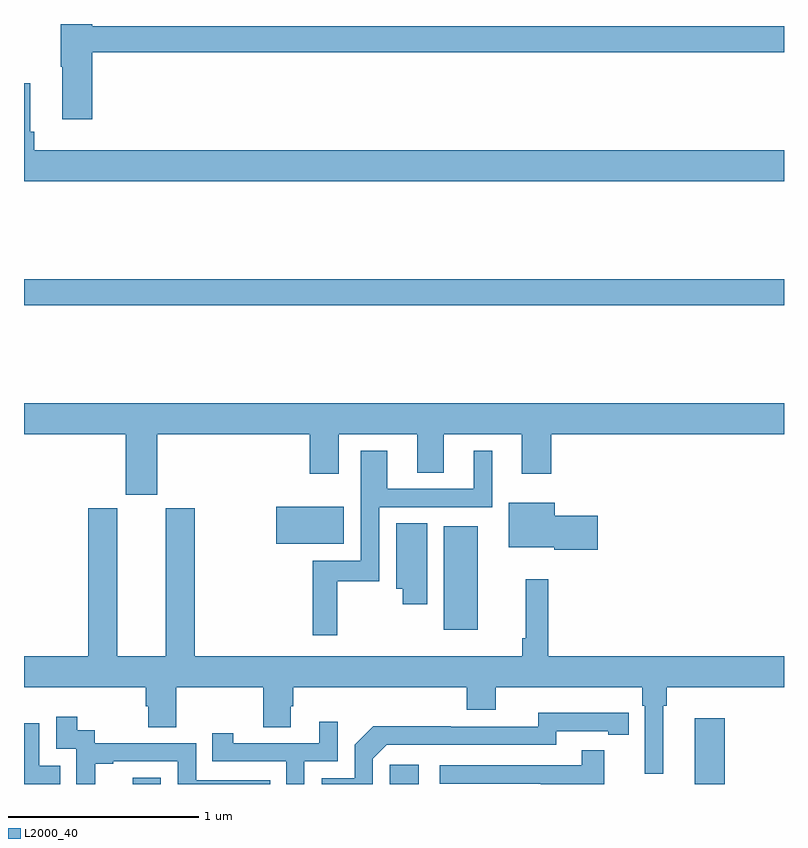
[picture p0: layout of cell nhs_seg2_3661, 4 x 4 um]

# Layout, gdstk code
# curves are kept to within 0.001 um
import gdstk
lib = gdstk.Library(unit=1e-6, precision=1e-09)
def R(c, l, rs):  # rectangles x0, y0, x1, y1
    for r in rs: c.add(gdstk.rectangle(r[:2], r[2:], *l))
def P(c, l, *ps):  # polygons
    for p in ps: c.add(gdstk.Polygon(p, *l))
L2000_40 = (2000, 40)

nhs_seg2_3661 = lib.new_cell('nhs_seg2_3661')
R(nhs_seg2_3661, L2000_40, [(303.573,641.8,303.72,641.833), (304.926,641.8,305.077,641.902), (306.53,641.8,306.689,642.145), (305.21,642.611,305.389,643.156), (304.328,643.064,304.684,643.258), (303,644.32,307,644.456)])
P(nhs_seg2_3661, L2000_40, [(303.359,645.652),(307,645.652),(307,645.788),(303.359,645.788),(303.359,645.8),(303.193,645.8),(303.193,645.575),(303.2,645.575),(303.2,645.3),(303.359,645.3)],
  [(307,645.136),(303.053,645.136),(303.053,645.232),(303.034,645.232),(303.034,645.487),(303,645.487),(303,644.972),(307,644.972)],
  [(303.7,643.64),(304.505,643.64),(304.505,643.434),(304.657,643.434),(304.657,643.64),(305.069,643.64),(305.069,643.438),(305.209,643.438),(305.209,643.64),(305.621,643.64),(305.621,643.434),(305.774,643.434),(305.774,643.64),(307,643.64),(307,643.804),(303,643.804),(303,643.64),(303.536,643.64),(303.536,643.323),(303.7,643.323)],
  [(304.648,642.867),(304.869,642.867),(304.869,643.257),(305.464,643.257),(305.464,643.555),(305.366,643.555),(305.366,643.353),(304.912,643.353),(304.912,643.555),(304.773,643.555),(304.773,642.975),(304.519,642.975),(304.519,642.582),(304.648,642.582)],
  [(306.019,643.212),(305.794,643.212),(305.794,643.279),(305.552,643.279),(305.552,643.046),(305.79,643.046),(305.79,643.034),(306.019,643.034)],
  [(306.364,642.212),(306.383,642.212),(306.383,642.308),(307,642.308),(307,642.472),(305.759,642.472),(305.759,642.877),(305.641,642.877),(305.641,642.568),(305.623,642.568),(305.623,642.472),(303.899,642.472),(303.899,643.251),(303.746,643.251),(303.746,642.472),(303.49,642.472),(303.49,643.251),(303.338,643.251),(303.338,642.472),(303,642.472),(303,642.308),(303.641,642.308),(303.641,642.21),(303.653,642.21),(303.653,642.1),(303.801,642.1),(303.801,642.308),(304.258,642.308),(304.258,642.1),(304.405,642.1),(304.405,642.21),(304.418,642.21),(304.418,642.308),(305.33,642.308),(305.33,642.191),(305.482,642.191),(305.482,642.308),(306.254,642.308),(306.254,642.212),(306.267,642.212),(306.267,641.853),(306.364,641.853)],
  [(305.122,643.172),(304.958,643.172),(304.958,642.827),(304.993,642.827),(304.993,642.747),(305.122,642.747)],
  [(304.836,641.934),(304.908,642.006),(305.802,642.006),(305.802,642.078),(306.074,642.078),(306.074,642.058),(306.182,642.058),(306.182,642.174),(305.706,642.175),(305.706,642.102),(305.246,642.102),(305.246,642.104),(304.838,642.104),(304.74,642.006),(304.74,641.829),(304.566,641.829),(304.566,641.8),(304.836,641.8)],
  [(303.374,641.907),(303.469,641.907),(303.469,641.919),(303.81,641.919),(303.81,641.8),(304.295,641.8),(304.295,641.82),(303.906,641.82),(303.906,642.015),(303.372,642.015),(303.372,642.084),(303.28,642.084),(303.28,642.154),(303.171,642.154),(303.171,641.985),(303.276,641.985),(303.276,641.8),(303.374,641.8)],
  [(304.476,641.919),(304.65,641.919),(304.65,642.127),(304.553,642.127),(304.553,642.015),(304.102,642.015),(304.102,642.067),(303.991,642.067),(303.991,641.919),(304.38,641.919),(304.38,641.8),(304.476,641.8)],
  [(303.191,641.895),(303.081,641.895),(303.081,642.12),(303,642.12),(303,641.8),(303.191,641.8)],
  [(306.053,641.977),(305.935,641.977),(305.935,641.898),(305.187,641.898),(305.187,641.802),(305.719,641.802),(305.719,641.8),(306.053,641.8)])

lib.write_gds('nhs_seg2_3661.gds')
